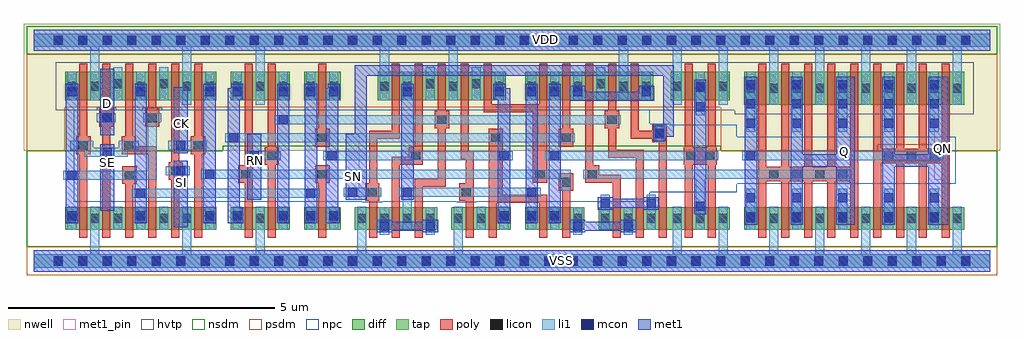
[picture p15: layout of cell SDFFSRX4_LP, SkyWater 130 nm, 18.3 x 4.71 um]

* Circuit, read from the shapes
.subckt SDFFSRX4_LP CK D Q QN RN SE SI SN VDD VSS
XM1 VSS SE n1 VSS sky130_fd_pr__nfet_01v8 w=0.42 l=0.15
XM2 n2 D VSS VSS sky130_fd_pr__nfet_01v8 w=0.42 l=0.15
XM3 n3 n1 n2 VSS sky130_fd_pr__nfet_01v8 w=0.42 l=0.15
XM4 n4 SE n3 VSS sky130_fd_pr__nfet_01v8 w=0.42 l=0.15
XM5 VSS SI n4 VSS sky130_fd_pr__nfet_01v8 w=0.42 l=0.15
XM6 n5 CK VSS VSS sky130_fd_pr__nfet_01v8 w=0.42 l=0.15
XM7 VSS n5 n6 VSS sky130_fd_pr__nfet_01v8 w=0.42 l=0.15
XM8 n7 RN VSS VSS sky130_fd_pr__nfet_01v8 w=0.42 l=0.15
XM9 n8 n5 n3 VSS sky130_fd_pr__nfet_01v8 w=0.42 l=0.15
XM10 n9 SN VSS VSS sky130_fd_pr__nfet_01v8 w=0.42 l=0.15
XM11 n10 n8 n9 VSS sky130_fd_pr__nfet_01v8 w=0.42 l=0.15
XM12 n9 n7 n10 VSS sky130_fd_pr__nfet_01v8 w=0.42 l=0.15
XM13 n11 n10 VSS VSS sky130_fd_pr__nfet_01v8 w=0.42 l=0.15
XM14 n8 n6 n11 VSS sky130_fd_pr__nfet_01v8 w=0.42 l=0.15
XM15 n12 n6 n10 VSS sky130_fd_pr__nfet_01v8 w=0.42 l=0.15
XM16 n13 n5 n12 VSS sky130_fd_pr__nfet_01v8 w=0.42 l=0.15
XM17 n13 n14 n15 VSS sky130_fd_pr__nfet_01v8 w=0.42 l=0.15
XM18 n15 n7 n13 VSS sky130_fd_pr__nfet_01v8 w=0.42 l=0.15
XM19 VSS SN n15 VSS sky130_fd_pr__nfet_01v8 w=0.42 l=0.15
XM20 n14 n12 VSS VSS sky130_fd_pr__nfet_01v8 w=0.42 l=0.15 m=2
XM21 VSS n14 n16 VSS sky130_fd_pr__nfet_01v8 w=0.42 l=0.15
XM22 Q n14 VSS VSS sky130_fd_pr__nfet_01v8 w=0.42 l=0.15 m=4
XM23 QN n16 VSS VSS sky130_fd_pr__nfet_01v8 w=0.42 l=0.15 m=4
XM24 VDD SE n1 VDD sky130_fd_pr__pfet_01v8_hvt w=0.54 l=0.15
XM25 n17 D VDD VDD sky130_fd_pr__pfet_01v8_hvt w=0.54 l=0.15
XM26 n3 SE n17 VDD sky130_fd_pr__pfet_01v8_hvt w=0.54 l=0.15
XM27 n18 n1 n3 VDD sky130_fd_pr__pfet_01v8_hvt w=0.54 l=0.15
XM28 VDD SI n18 VDD sky130_fd_pr__pfet_01v8_hvt w=0.54 l=0.15
XM29 n5 CK VDD VDD sky130_fd_pr__pfet_01v8_hvt w=0.54 l=0.15
XM30 VDD n5 n6 VDD sky130_fd_pr__pfet_01v8_hvt w=0.54 l=0.15
XM31 n7 RN VDD VDD sky130_fd_pr__pfet_01v8_hvt w=0.54 l=0.15
XM32 n8 n6 n3 VDD sky130_fd_pr__pfet_01v8_hvt w=0.54 l=0.15
XM33 n10 SN VDD VDD sky130_fd_pr__pfet_01v8_hvt w=0.54 l=0.15
XM34 n19 n8 n10 VDD sky130_fd_pr__pfet_01v8_hvt w=0.54 l=0.15
XM35 VDD n7 n19 VDD sky130_fd_pr__pfet_01v8_hvt w=0.54 l=0.15
XM36 n20 n10 VDD VDD sky130_fd_pr__pfet_01v8_hvt w=0.54 l=0.15
XM37 n8 n5 n20 VDD sky130_fd_pr__pfet_01v8_hvt w=0.54 l=0.15
XM38 n12 n5 n10 VDD sky130_fd_pr__pfet_01v8_hvt w=0.54 l=0.15
XM39 n21 n6 n12 VDD sky130_fd_pr__pfet_01v8_hvt w=0.54 l=0.15
XM40 n22 n14 n21 VDD sky130_fd_pr__pfet_01v8_hvt w=0.54 l=0.15
XM41 VDD n7 n22 VDD sky130_fd_pr__pfet_01v8_hvt w=0.54 l=0.15
XM42 n21 SN VDD VDD sky130_fd_pr__pfet_01v8_hvt w=0.54 l=0.15
XM43 n14 n12 VDD VDD sky130_fd_pr__pfet_01v8_hvt w=0.54 l=0.15 m=2
XM44 VDD n14 n16 VDD sky130_fd_pr__pfet_01v8_hvt w=0.62 l=0.15
XM45 Q n14 VDD VDD sky130_fd_pr__pfet_01v8_hvt w=0.62 l=0.15 m=4
XM46 QN n16 VDD VDD sky130_fd_pr__pfet_01v8_hvt w=0.62 l=0.15 m=4
.ends

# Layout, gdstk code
from math import pi, radians
import gdstk
lib = gdstk.Library(unit=1e-6, precision=1e-09)
def R(c, l, rs):  # rectangles x0, y0, x1, y1
    for r in rs: c.add(gdstk.rectangle(r[:2], r[2:], *l))
def A(c, l, x, y, w, h, nx, ny, dx, dy):  # array of equal rectangles
    R(c, l, [(x+i*dx, y+j*dy, x+i*dx+w, y+j*dy+h) for i in range(nx) for j in range(ny)])
def P(c, l, *ps):  # polygons
    for p in ps: c.add(gdstk.Polygon(p, *l))
nwell = (64, 20)
diff = (65, 20)
tap = (65, 44)
poly = (66, 20)
licon = (66, 44)
li1 = (67, 20)
mcon = (67, 44)
met1_pin = (68, 16)
met1 = (68, 20)
hvtp = (78, 44)
nsdm = (93, 44)
psdm = (94, 20)
npc = (95, 20)

pyl1con_c_cdns_758729379 = lib.new_cell('PYL1CON_C_CDNS_758729379653')
R(pyl1con_c_cdns_758729379, poly, [(-0.135,-0.165,0.135,0.165)])
R(pyl1con_c_cdns_758729379, licon, [(-0.085,-0.085,0.085,0.085)])
R(pyl1con_c_cdns_758729379, npc, [(-0.185,-0.185,0.185,0.185)])

l1m1_c_cdns_758729379651 = lib.new_cell('L1M1_C_CDNS_7587293796510')
R(l1m1_c_cdns_758729379651, li1, [(-0.085,-0.525,0.085,0.525)])
A(l1m1_c_cdns_758729379651, mcon, -0.085, -0.445, 0.17, 0.17, 1, 3, 0, 0.36)
R(l1m1_c_cdns_758729379651, met1, [(-0.115,-0.505,0.115,0.505)])

l1m1_c_cdns_758729379655 = lib.new_cell('L1M1_C_CDNS_758729379655')
R(l1m1_c_cdns_758729379655, li1, [(-0.085,-0.165,0.085,0.165)])
R(l1m1_c_cdns_758729379655, mcon, [(-0.085,-0.085,0.085,0.085)])
R(l1m1_c_cdns_758729379655, met1, [(-0.115,-0.145,0.115,0.145)])

l1m1_c_cdns_758729379659 = lib.new_cell('L1M1_C_CDNS_758729379659')
R(l1m1_c_cdns_758729379659, li1, [(-0.085,-0.345,0.085,0.345)])
R(l1m1_c_cdns_758729379659, mcon, [(-0.085,-0.265,0.085,-0.095), (-0.085,0.095,0.085,0.265)])
R(l1m1_c_cdns_758729379659, met1, [(-0.115,-0.325,0.115,0.325)])

l1m1_c_cdns_758729379654 = lib.new_cell('L1M1_C_CDNS_758729379654')
R(l1m1_c_cdns_758729379654, li1, [(-0.165,-0.085,0.165,0.085)])
R(l1m1_c_cdns_758729379654, mcon, [(-0.085,-0.085,0.085,0.085)])
R(l1m1_c_cdns_758729379654, met1, [(-0.115,-0.145,0.115,0.145)])

l1m1_c_cdns_758729379652 = lib.new_cell('L1M1_C_CDNS_758729379652')
R(l1m1_c_cdns_758729379652, li1, [(-0.085,-0.165,0.085,0.165)])
R(l1m1_c_cdns_758729379652, mcon, [(-0.085,-0.085,0.085,0.085)])
R(l1m1_c_cdns_758729379652, met1, [(-0.145,-0.115,0.145,0.115)])

polyconn_cdns_7587293796 = lib.new_cell('polyConn_CDNS_758729379650')
R(polyconn_cdns_7587293796, poly, [(-0.135,-0.165,0.135,0.165)])
R(polyconn_cdns_7587293796, licon, [(-0.085,-0.085,0.085,0.085)])
R(polyconn_cdns_7587293796, li1, [(-0.085,-0.165,0.085,0.165)])
R(polyconn_cdns_7587293796, mcon, [(-0.085,-0.085,0.085,0.085)])
R(polyconn_cdns_7587293796, met1, [(-0.115,-0.145,0.115,0.145)])
R(polyconn_cdns_7587293796, npc, [(-0.185,-0.185,0.185,0.185)])

licondiff_c_cdns_7587293 = lib.new_cell('LICONDIFF_C_CDNS_758729379657')
R(licondiff_c_cdns_7587293, diff, [(-0.125,-0.145,0.125,0.145)])
R(licondiff_c_cdns_7587293, licon, [(-0.085,-0.085,0.085,0.085), (-0.085,-0.085,0.085,0.085)])

sdffsrx4_lp = lib.new_cell('SDFFSRX4_LP')
R(sdffsrx4_lp, nwell, [(-0.18,2.07,18.12,4.445)])
R(sdffsrx4_lp, diff, [(0.595,0.59,3.425,1.01), (3.695,0.59,4.805,1.01), (5.075,0.59,5.755,1.01), (6.025,0.59,7.565,1.01), (7.835,0.59,8.945,1.01), (9.215,0.59,10.325,1.01), (10.595,0.59,13.055,1.01), (13.325,0.59,17.445,1.01), (13.325,2.93,17.445,3.55), (0.595,3.01,3.425,3.55), (3.695,3.01,4.805,3.55), (5.075,3.01,5.755,3.55), (6.455,3.01,8.855,3.55), (9.215,3.01,11.615,3.55), (11.945,3.01,13.055,3.55)])
A(sdffsrx4_lp, poly, 13.59, 0.44, 0.15, 3.26, 9, 1, 0.43, 0)
R(sdffsrx4_lp, poly, [(0.86,0.44,1.01,3.7), (1.29,0.44,1.44,3.7), (1.72,0.44,1.87,1.705), (2.58,0.44,2.73,3.7), (3.01,0.44,3.16,3.7), (3.96,0.44,4.11,3.7), (4.39,0.44,4.54,3.7), (5.34,0.44,5.49,1.795), (9.91,0.44,10.06,1.345), (9.91,2.145,10.06,3.7), (5.34,2.16,5.49,3.7), (2.15,2.55,2.3,3.7)])
P(sdffsrx4_lp, poly, [(2.3,2.155),(1.87,2.155),(1.87,3.7),(1.72,3.7),(1.72,2.005),(2.15,2.005),(2.15,0.44),(2.3,0.44)],
  [(6.87,3.7),(6.72,3.7),(6.72,2.44),(6.29,2.44),(6.29,0.44),(6.44,0.44),(6.44,2.29),(6.87,2.29)],
  [(7.3,3.7),(7.15,3.7),(7.15,1.955),(6.72,1.955),(6.72,0.44),(6.87,0.44),(6.87,1.805),(7.3,1.805)],
  [(7.73,3.7),(7.58,3.7),(7.58,1.545),(7.15,1.545),(7.15,0.44),(7.3,0.44),(7.3,1.395),(7.73,1.395)],
  [(8.25,2.055),(8.16,2.055),(8.16,3.7),(8.01,3.7),(8.01,1.905),(8.1,1.905),(8.1,0.44),(8.25,0.44)],
  [(9.63,3.7),(9.48,3.7),(9.48,2.935),(8.59,2.935),(8.59,3.7),(8.44,3.7),(8.44,2.785),(9.36,2.785),(9.36,1.465),(9.63,1.465)],
  [(9.63,1.24),(8.8,1.24),(8.8,2.475),(8.53,2.475),(8.53,0.44),(8.68,0.44),(8.68,1.09),(9.48,1.09),(9.48,0.44),(9.63,0.44)],
  [(11.01,1.615),(10.49,1.615),(10.49,3.7),(10.34,3.7),(10.34,1.465),(10.86,1.465),(10.86,0.44),(11.01,0.44)],
  [(11.44,2.085),(10.92,2.085),(10.92,3.7),(10.77,3.7),(10.77,1.935),(11.29,1.935),(11.29,0.44),(11.44,0.44)],
  [(11.87,2.445),(11.35,2.445),(11.35,3.7),(11.2,3.7),(11.2,2.295),(11.72,2.295),(11.72,0.44),(11.87,0.44)],
  [(12.81,2.135),(12.79,2.135),(12.79,3.7),(12.64,3.7),(12.64,2.135),(12.36,2.135),(12.36,3.7),(12.21,3.7),(12.21,2.135),(12.19,2.135),(12.19,1.805),(12.21,1.805),(12.21,0.44),(12.36,0.44),(12.36,1.805),(12.64,1.805),(12.64,0.44),(12.79,0.44),(12.79,1.805),(12.81,1.805)])
A(sdffsrx4_lp, licon, 0.375, -0.085, 0.17, 0.17, 38, 2, 0.46, 4.14)
A(sdffsrx4_lp, licon, 1.065, 0.715, 0.17, 0.17, 3, 2, 0.86, 2.48)
A(sdffsrx4_lp, licon, 3.735, 0.715, 0.17, 0.17, 3, 2, 0.43, 2.48)
A(sdffsrx4_lp, licon, 6.065, 0.715, 0.17, 0.17, 4, 1, 0.43, 0)
A(sdffsrx4_lp, licon, 9.255, 0.715, 0.17, 0.17, 3, 2, 0.43, 2.48)
A(sdffsrx4_lp, licon, 10.635, 0.715, 0.17, 0.17, 3, 1, 0.43, 0)
A(sdffsrx4_lp, licon, 11.985, 0.715, 0.17, 0.17, 3, 2, 0.43, 2.48)
A(sdffsrx4_lp, licon, 13.365, 0.715, 0.17, 0.17, 10, 2, 0.43, 2.44)
A(sdffsrx4_lp, licon, 6.925, 3.195, 0.17, 0.17, 3, 1, 0.86, 0)
R(sdffsrx4_lp, licon, [(0.635,0.715,0.805,0.885), (3.215,0.715,3.385,0.885), (5.115,0.715,5.285,0.885), (5.545,0.715,5.715,0.885), (7.875,0.715,8.045,0.885), (8.735,0.715,8.905,0.885), (0.635,3.195,0.805,3.365), (3.215,3.195,3.385,3.365), (5.115,3.195,5.285,3.365), (5.545,3.195,5.715,3.365), (6.495,3.195,6.665,3.365), (10.975,3.195,11.145,3.365), (11.405,3.195,11.575,3.365)])
A(sdffsrx4_lp, li1, 0.635, 0.59, 0.17, 0.42, 3, 1, 1.29, 0)
A(sdffsrx4_lp, li1, 9.255, 0.59, 0.17, 0.42, 3, 1, 0.43, 0)
A(sdffsrx4_lp, li1, 10.635, 0.59, 0.17, 0.42, 3, 1, 0.43, 0)
A(sdffsrx4_lp, li1, 13.365, 0.59, 0.17, 0.42, 5, 1, 0.86, 0)
A(sdffsrx4_lp, li1, 13.365, 2.93, 0.17, 0.62, 5, 1, 0.86, 0)
A(sdffsrx4_lp, li1, 0.635, 3.01, 0.17, 0.54, 3, 1, 1.29, 0)
A(sdffsrx4_lp, li1, 9.255, 3.01, 0.17, 0.54, 3, 1, 0.43, 0)
R(sdffsrx4_lp, li1, [(3.735,0.59,3.905,1.01), (4.595,0.59,4.765,1.01), (5.115,0.59,5.285,1.01), (5.545,0.59,5.715,1.01), (6.495,0.59,6.665,1.01), (7.355,0.59,7.525,1.01), (8.735,0.59,8.905,1.01), (2.525,2.085,3.25,2.255), (3.735,3.01,3.905,3.55), (4.595,3.01,4.765,3.55), (5.115,3.01,5.285,3.55), (5.545,3.01,5.715,3.55), (6.925,3.01,7.095,3.55), (8.645,3.01,8.815,3.55), (11.405,3.01,11.575,3.55), (12.415,3.01,12.585,3.55)])
P(sdffsrx4_lp, li1, [(1.97,2.255),(1.6,2.255),(1.6,2.125),(1.12,2.125),(1.12,2.255),(0.69,2.255),(0.69,2.085),(0.95,2.085),(0.95,1.955),(1.77,1.955),(1.77,2.085),(1.97,2.085)],
  [(2.39,2.77),(2.06,2.77),(2.06,2.6),(2.14,2.6),(2.14,1.695),(0.72,1.695),(0.72,1.525),(2.31,1.525),(2.31,2.6),(2.39,2.6)],
  [(9.505,1.375),(6.845,1.375),(6.845,1.205),(6.925,1.205),(6.925,0.59),(7.095,0.59),(7.095,1.205),(9.505,1.205)],
  [(15.335,1.715),(10.31,1.715),(10.31,1.545),(12.415,1.545),(12.415,0.59),(12.585,0.59),(12.585,1.545),(15.335,1.545)],
  [(17.94,4.265),(0,4.265),(0,4.015),(1.065,4.015),(1.065,3.01),(1.235,3.01),(1.235,4.015),(2.785,4.015),(2.785,2.925),(2.955,2.925),(2.955,4.015),(4.165,4.015),(4.165,2.925),(4.335,2.925),(4.335,4.015),(6.495,4.015),(6.495,3.01),(6.665,3.01),(6.665,4.015),(7.785,4.015),(7.785,3.01),(7.955,3.01),(7.955,4.015),(10.975,4.015),(10.975,3.01),(11.145,3.01),(11.145,4.015),(11.985,4.015),(11.985,2.925),(12.155,2.925),(12.155,4.015),(12.845,4.015),(12.845,2.925),(13.015,2.925),(13.015,4.015),(13.795,4.015),(13.795,2.925),(13.965,2.925),(13.965,4.015),(14.655,4.015),(14.655,2.925),(14.825,2.925),(14.825,4.015),(15.515,4.015),(15.515,2.925),(15.685,2.925),(15.685,4.015),(16.375,4.015),(16.375,2.925),(16.545,2.925),(16.545,4.015),(17.235,4.015),(17.235,2.925),(17.405,2.925),(17.405,4.015),(17.94,4.015)],
  [(17.94,0.125),(17.405,0.125),(17.405,1.015),(17.235,1.015),(17.235,0.125),(16.545,0.125),(16.545,1.015),(16.375,1.015),(16.375,0.125),(15.685,0.125),(15.685,1.015),(15.515,1.015),(15.515,0.125),(14.825,0.125),(14.825,1.015),(14.655,1.015),(14.655,0.125),(13.965,0.125),(13.965,1.015),(13.795,1.015),(13.795,0.125),(13.015,0.125),(13.015,1.015),(12.845,1.015),(12.845,0.125),(12.155,0.125),(12.155,1.015),(11.985,1.015),(11.985,0.125),(8.045,0.125),(8.045,1.015),(7.875,1.015),(7.875,0.125),(6.235,0.125),(6.235,1.015),(6.065,1.015),(6.065,0.125),(4.335,0.125),(4.335,1.015),(4.165,1.015),(4.165,0.125),(2.955,0.125),(2.955,1.015),(2.785,1.015),(2.785,0.125),(1.235,0.125),(1.235,1.015),(1.065,1.015),(1.065,0.125),(0,0.125),(0,-0.125),(17.94,-0.125)])
A(sdffsrx4_lp, mcon, 0.375, -0.085, 0.17, 0.17, 38, 2, 0.46, 4.14)
R(sdffsrx4_lp, met1_pin, [(2.63,0.635,2.89,1.875), (1.25,0.945,1.51,2.185), (4.01,1.145,4.27,2.385), (5.85,1.145,6.11,2.385), (15.05,1.46,15.31,2.7), (16.89,1.52,17.15,2.76), (2.63,2.02,2.89,3.26), (1.25,2.36,1.51,3.6)])
P(sdffsrx4_lp, met1, [(12.005,3.67),(6.02,3.67),(6.02,2.385),(5.85,2.385),(5.85,1.145),(6.25,1.145),(6.25,3.47),(11.805,3.47),(11.805,2.325),(12.005,2.325)],
  [(15.395,3.45),(15.05,3.45),(15.05,2),(14.425,2),(14.425,3.45),(14.195,3.45),(14.195,0.68),(14.425,0.68),(14.425,1.77),(15.05,1.77),(15.05,0.68),(15.395,0.68)],
  [(17.15,3.455),(16.775,3.455),(16.775,2),(16.145,2),(16.145,3.45),(15.915,3.45),(15.915,0.68),(16.145,0.68),(16.145,1.77),(16.775,1.77),(16.775,0.68),(17.15,0.68)])
P(sdffsrx4_lp, hvtp, [(17.625,3.73),(0.415,3.73),(0.415,2.83),(13.145,2.83),(13.145,2.75),(17.625,2.75)])
R(sdffsrx4_lp, nsdm, [(-0.125,3.875,18.065,4.405)])
P(sdffsrx4_lp, nsdm, [(18.065,2.07),(16.995,2.07),(16.995,1.875),(15.925,1.875),(15.925,2.07),(12.88,2.07),(12.88,2.165),(3.55,2.165),(3.55,2.07),(-0.125,2.07),(-0.125,0.265),(18.065,0.265)])
R(sdffsrx4_lp, psdm, [(-0.125,-0.265,18.065,0.265)])
P(sdffsrx4_lp, psdm, [(18.065,3.875),(-0.125,3.875),(-0.125,2.07),(0.585,2.07),(0.585,2.88),(12.88,2.88),(12.88,2.07),(15.83,2.07),(15.83,2.175),(17.09,2.175),(17.09,2.07),(18.065,2.07)])
P(sdffsrx4_lp, npc, [(17.29,2.325),(13.185,2.325),(13.185,2.55),(11.92,2.55),(11.92,2.575),(11.55,2.575),(11.55,2.835),(0.75,2.835),(0.75,1.11),(11.55,1.11),(11.55,1.285),(13.185,1.285),(13.185,1.445),(17.29,1.445)])
sdffsrx4_lp.add(gdstk.FlexPath([(1.38,2.685),(1.18,2.685)], 0.17, ends="flush", simple_path=True, layer=67, datatype=20))  # li1
sdffsrx4_lp.add(gdstk.FlexPath([(2.76,1.69),(2.48,1.69)], 0.17, ends="flush", simple_path=True, layer=67, datatype=20))  # li1
sdffsrx4_lp.add(gdstk.FlexPath([(1.58,3.01),(1.58,3.635)], 0.17, ends="flush", simple_path=True, layer=67, datatype=20))  # li1
sdffsrx4_lp.add(gdstk.FlexPath([(1.845,1.27),(5.365,1.27)], 0.17, ends="flush", simple_path=True, layer=67, datatype=20))  # li1
sdffsrx4_lp.add(gdstk.FlexPath([(7.44,3.01),(7.44,3.635)], 0.17, ends="flush", simple_path=True, layer=67, datatype=20))  # li1
sdffsrx4_lp.add(gdstk.FlexPath([(8.3,3.01),(8.3,3.635)], 0.17, ends="flush", simple_path=True, layer=67, datatype=20))  # li1
sdffsrx4_lp.add(gdstk.FlexPath([(9.585,1.97),(12.84,1.97)], 0.17, ends="flush", simple_path=True, layer=67, datatype=20))  # li1
sdffsrx4_lp.add(gdstk.FlexPath([(2.44,3.01),(2.44,3.635)], 0.17, ends="flush", simple_path=True, layer=67, datatype=20))  # li1
sdffsrx4_lp.add(gdstk.FlexPath([(4.68,2.65),(11.01,2.65)], 0.17, ends="flush", simple_path=True, layer=67, datatype=20))  # li1
sdffsrx4_lp.add(gdstk.FlexPath([(3.885,2.31),(10.15,2.31)], 0.17, ends="flush", simple_path=True, layer=67, datatype=20))  # li1
sdffsrx4_lp.add(gdstk.FlexPath([(5.63,1.97),(8.985,1.97)], 0.17, ends="flush", simple_path=True, layer=67, datatype=20))  # li1
sdffsrx4_lp.add(gdstk.FlexPath([(3.135,1.63),(9.985,1.63),(9.985,1.315)], 0.17, ends="flush", simple_path=True, layer=67, datatype=20))  # li1
sdffsrx4_lp.add(gdstk.FlexPath([(13.45,1.97),(17.055,1.97)], 0.17, ends="flush", simple_path=True, layer=67, datatype=20))  # li1
sdffsrx4_lp.add(gdstk.FlexPath([(10.63,3.01),(10.63,3.635)], 0.17, ends="flush", simple_path=True, layer=67, datatype=20))  # li1
sdffsrx4_lp.add(gdstk.FlexPath([(1.58,0.59),(1.58,1.015)], 0.17, ends="flush", simple_path=True, layer=67, datatype=20))  # li1
sdffsrx4_lp.add(gdstk.FlexPath([(2.44,0.59),(2.44,1.015)], 0.17, ends="flush", simple_path=True, layer=67, datatype=20))  # li1
sdffsrx4_lp.add(gdstk.FlexPath([(8.39,0.59),(8.39,1.015)], 0.17, ends="flush", simple_path=True, layer=67, datatype=20))  # li1
sdffsrx4_lp.add(gdstk.FlexPath([(4.63,1.97),(4.085,1.97)], 0.17, ends="flush", simple_path=True, layer=67, datatype=20))  # li1
sdffsrx4_lp.add(gdstk.FlexPath([(6.515,1.29),(5.97,1.29)], 0.17, ends="flush", simple_path=True, layer=67, datatype=20))  # li1
sdffsrx4_lp.add(gdstk.FlexPath([(0,4.14),(17.94,4.14)], 0.4, ends="flush", simple_path=True, layer=68, datatype=20))  # met1
sdffsrx4_lp.add(gdstk.FlexPath([(0,0),(17.94,0)], 0.4, ends="flush", simple_path=True, layer=68, datatype=20))  # met1
sdffsrx4_lp.add(gdstk.FlexPath([(4.14,1.145),(4.14,2.385)], 0.26, ends="flush", simple_path=True, layer=68, datatype=20))  # met1
sdffsrx4_lp.add(gdstk.FlexPath([(2.76,2.02),(2.76,3.26)], 0.26, ends="flush", simple_path=True, layer=68, datatype=20))  # met1
sdffsrx4_lp.add(gdstk.FlexPath([(1.38,2.36),(1.38,3.6)], 0.26, ends="flush", simple_path=True, layer=68, datatype=20))  # met1
sdffsrx4_lp.add(gdstk.FlexPath([(3.3,0.705),(3.3,3.235)], 0.23, ends="flush", simple_path=True, layer=68, datatype=20))  # met1
sdffsrx4_lp.add(gdstk.FlexPath([(2.01,0.705),(2.01,3.235)], 0.23, ends="flush", simple_path=True, layer=68, datatype=20))  # met1
sdffsrx4_lp.add(gdstk.FlexPath([(5.2,0.705),(5.2,3.235)], 0.23, ends="flush", simple_path=True, layer=68, datatype=20))  # met1
sdffsrx4_lp.add(gdstk.FlexPath([(13.45,0.68),(13.45,3.45)], 0.23, ends="flush", simple_path=True, layer=68, datatype=20))  # met1
sdffsrx4_lp.add(gdstk.FlexPath([(12.5,0.88),(12.5,3.315)], 0.23, ends="flush", simple_path=True, layer=68, datatype=20))  # met1
sdffsrx4_lp.add(gdstk.FlexPath([(9.77,0.705),(9.77,3.235)], 0.23, ends="flush", simple_path=True, layer=68, datatype=20))  # met1
sdffsrx4_lp.add(gdstk.FlexPath([(9.34,0.705),(9.34,3.235)], 0.23, ends="flush", simple_path=True, layer=68, datatype=20))  # met1
sdffsrx4_lp.add(gdstk.FlexPath([(3.755,0.705),(3.755,3.235)], 0.23, ends="flush", simple_path=True, layer=68, datatype=20))  # met1
sdffsrx4_lp.add(gdstk.FlexPath([(4.68,0.705),(4.68,3.235)], 0.23, ends="flush", simple_path=True, layer=68, datatype=20))  # met1
sdffsrx4_lp.add(gdstk.FlexPath([(5.595,0.705),(5.595,3.235)], 0.23, ends="flush", simple_path=True, layer=68, datatype=20))  # met1
sdffsrx4_lp.add(gdstk.FlexPath([(8.82,0.705),(8.82,3.235)], 0.23, ends="flush", simple_path=True, layer=68, datatype=20))  # met1
sdffsrx4_lp.add(gdstk.FlexPath([(0.72,0.705),(0.72,3.235)], 0.23, ends="flush", simple_path=True, layer=68, datatype=20))  # met1
sdffsrx4_lp.add(gdstk.FlexPath([(10.055,0.655),(11.295,0.655)], 0.17, ends="flush", simple_path=True, layer=68, datatype=20))  # met1
sdffsrx4_lp.add(gdstk.FlexPath([(10.055,3.09),(11.635,3.09)], 0.17, ends="flush", simple_path=True, layer=68, datatype=20))  # met1
sdffsrx4_lp.add(gdstk.FlexPath([(10.575,1.08),(11.725,1.08)], 0.17, ends="flush", simple_path=True, layer=68, datatype=20))  # met1
sdffsrx4_lp.add(gdstk.FlexPath([(7.01,1.145),(7.01,3.235)], 0.23, ends="flush", simple_path=True, layer=68, datatype=20))  # met1
sdffsrx4_lp.add(gdstk.FlexPath([(6.435,0.655),(7.585,0.655)], 0.17, ends="flush", simple_path=True, layer=68, datatype=20))  # met1
sdffsrx4_lp.add(gdstk.FlexPath([(2.76,0.635),(2.76,1.875)], 0.26, ends="flush", simple_path=True, layer=68, datatype=20))  # met1
sdffsrx4_lp.add(gdstk.FlexPath([(1.38,0.945),(1.38,2.185)], 0.26, ends="flush", simple_path=True, layer=68, datatype=20))  # met1
sdffsrx4_lp.add(gdstk.FlexPath([(0,4.14),(17.94,4.14)], 0.4, ends="flush", simple_path=True, layer=68, datatype=16))  # met1_pin
sdffsrx4_lp.add(gdstk.FlexPath([(0,0),(17.94,0)], 0.4, ends="flush", simple_path=True, layer=68, datatype=16))  # met1_pin
sdffsrx4_lp.add(gdstk.FlexPath([(0,4.14),(17.94,4.14)], 0.25, ends="flush", simple_path=True, layer=65, datatype=44))  # tap
sdffsrx4_lp.add(gdstk.FlexPath([(0,0),(17.94,0)], 0.25, ends="flush", simple_path=True, layer=65, datatype=44))  # tap
sdffsrx4_lp.add(gdstk.Reference(pyl1con_c_cdns_758729379, (16.03,1.97), rotation=3*pi/2, x_reflection=True))
sdffsrx4_lp.add(gdstk.Reference(pyl1con_c_cdns_758729379, (16.46,1.97), rotation=3*pi/2, x_reflection=True))
sdffsrx4_lp.add(gdstk.Reference(pyl1con_c_cdns_758729379, (15.17,1.63), rotation=3*pi/2, x_reflection=True))
sdffsrx4_lp.add(gdstk.Reference(pyl1con_c_cdns_758729379, (14.74,1.63), rotation=3*pi/2, x_reflection=True))
sdffsrx4_lp.add(gdstk.Reference(pyl1con_c_cdns_758729379, (14.31,1.63), rotation=3*pi/2, x_reflection=True))
sdffsrx4_lp.add(gdstk.Reference(pyl1con_c_cdns_758729379, (6.35,1.29), x_reflection=True))
sdffsrx4_lp.add(gdstk.Reference(pyl1con_c_cdns_758729379, (4.465,1.97), x_reflection=True))
sdffsrx4_lp.add(gdstk.Reference(pyl1con_c_cdns_758729379, (1.365,2.685), x_reflection=True))
sdffsrx4_lp.add(gdstk.Reference(pyl1con_c_cdns_758729379, (3.085,2.17), x_reflection=True))
sdffsrx4_lp.add(gdstk.Reference(pyl1con_c_cdns_758729379, (2.665,1.69), x_reflection=True))
sdffsrx4_lp.add(gdstk.Reference(pyl1con_c_cdns_758729379, (16.89,1.97), rotation=3*pi/2, x_reflection=True))
sdffsrx4_lp.add(gdstk.Reference(pyl1con_c_cdns_758729379, (0.935,2.17)))
sdffsrx4_lp.add(gdstk.Reference(pyl1con_c_cdns_758729379, (1.785,2.17)))
sdffsrx4_lp.add(gdstk.Reference(pyl1con_c_cdns_758729379, (10.845,2.65)))
sdffsrx4_lp.add(gdstk.Reference(pyl1con_c_cdns_758729379, (7.655,2.65)))
sdffsrx4_lp.add(gdstk.Reference(pyl1con_c_cdns_758729379, (7.165,1.97)))
sdffsrx4_lp.add(gdstk.Reference(pyl1con_c_cdns_758729379, (12.675,1.97), rotation=pi, x_reflection=True))
sdffsrx4_lp.add(gdstk.Reference(pyl1con_c_cdns_758729379, (12.325,1.97), rotation=pi, x_reflection=True))
sdffsrx4_lp.add(gdstk.Reference(pyl1con_c_cdns_758729379, (9.495,1.63), x_reflection=True))
sdffsrx4_lp.add(gdstk.Reference(pyl1con_c_cdns_758729379, (9.985,1.48)))
sdffsrx4_lp.add(gdstk.Reference(pyl1con_c_cdns_758729379, (3.975,1.63)))
sdffsrx4_lp.add(gdstk.Reference(pyl1con_c_cdns_758729379, (5.415,1.63)))
sdffsrx4_lp.add(gdstk.Reference(pyl1con_c_cdns_758729379, (9.985,2.31)))
sdffsrx4_lp.add(gdstk.Reference(pyl1con_c_cdns_758729379, (5.415,2.31)))
sdffsrx4_lp.add(gdstk.Reference(pyl1con_c_cdns_758729379, (8.665,2.31)))
sdffsrx4_lp.add(gdstk.Reference(pyl1con_c_cdns_758729379, (8.115,1.29)))
sdffsrx4_lp.add(gdstk.Reference(pyl1con_c_cdns_758729379, (10.475,1.63), rotation=pi, x_reflection=True))
sdffsrx4_lp.add(gdstk.Reference(pyl1con_c_cdns_758729379, (13.88,1.63), rotation=3*pi/2, x_reflection=True))
sdffsrx4_lp.add(gdstk.Reference(pyl1con_c_cdns_758729379, (2.225,2.685), x_reflection=True))
sdffsrx4_lp.add(gdstk.Reference(pyl1con_c_cdns_758729379, (1.795,1.61)))
sdffsrx4_lp.add(gdstk.Reference(l1m1_c_cdns_758729379651, (16.03,2.945)))
sdffsrx4_lp.add(gdstk.Reference(l1m1_c_cdns_758729379651, (16.89,2.945)))
sdffsrx4_lp.add(gdstk.Reference(l1m1_c_cdns_758729379651, (13.45,2.945)))
sdffsrx4_lp.add(gdstk.Reference(l1m1_c_cdns_758729379651, (15.17,2.945)))
sdffsrx4_lp.add(gdstk.Reference(l1m1_c_cdns_758729379651, (14.31,2.945)))
sdffsrx4_lp.add(gdstk.Reference(l1m1_c_cdns_758729379655, (0.72,3.175)))
sdffsrx4_lp.add(gdstk.Reference(l1m1_c_cdns_758729379655, (0.72,0.85)))
sdffsrx4_lp.add(gdstk.Reference(l1m1_c_cdns_758729379655, (8.82,0.85)))
sdffsrx4_lp.add(gdstk.Reference(l1m1_c_cdns_758729379655, (8.73,3.175)))
sdffsrx4_lp.add(gdstk.Reference(l1m1_c_cdns_758729379655, (5.63,3.175)))
sdffsrx4_lp.add(gdstk.Reference(l1m1_c_cdns_758729379655, (5.63,0.85)))
sdffsrx4_lp.add(gdstk.Reference(l1m1_c_cdns_758729379655, (4.68,3.175)))
sdffsrx4_lp.add(gdstk.Reference(l1m1_c_cdns_758729379655, (4.68,0.85)))
sdffsrx4_lp.add(gdstk.Reference(l1m1_c_cdns_758729379655, (2.01,0.85)))
sdffsrx4_lp.add(gdstk.Reference(l1m1_c_cdns_758729379655, (2.01,3.175)))
sdffsrx4_lp.add(gdstk.Reference(l1m1_c_cdns_758729379655, (5.2,0.85)))
sdffsrx4_lp.add(gdstk.Reference(l1m1_c_cdns_758729379655, (5.2,3.175)))
sdffsrx4_lp.add(gdstk.Reference(l1m1_c_cdns_758729379655, (9.77,3.175)))
sdffsrx4_lp.add(gdstk.Reference(l1m1_c_cdns_758729379655, (9.77,0.85)))
sdffsrx4_lp.add(gdstk.Reference(l1m1_c_cdns_758729379655, (3.3,0.85)))
sdffsrx4_lp.add(gdstk.Reference(l1m1_c_cdns_758729379655, (3.3,3.175)))
sdffsrx4_lp.add(gdstk.Reference(l1m1_c_cdns_758729379655, (3.82,0.85)))
sdffsrx4_lp.add(gdstk.Reference(l1m1_c_cdns_758729379655, (3.82,3.175)))
sdffsrx4_lp.add(gdstk.Reference(l1m1_c_cdns_758729379655, (9.34,0.85)))
sdffsrx4_lp.add(gdstk.Reference(l1m1_c_cdns_758729379655, (7.01,3.175)))
sdffsrx4_lp.add(gdstk.Reference(l1m1_c_cdns_758729379655, (12.5,1.025), rotation=pi, x_reflection=True))
sdffsrx4_lp.add(gdstk.Reference(l1m1_c_cdns_758729379655, (9.34,3.175)))
sdffsrx4_lp.add(gdstk.Reference(l1m1_c_cdns_758729379659, (12.5,3.075), rotation=pi, x_reflection=True))
sdffsrx4_lp.add(gdstk.Reference(l1m1_c_cdns_758729379659, (16.03,1.005)))
sdffsrx4_lp.add(gdstk.Reference(l1m1_c_cdns_758729379659, (16.89,1.005)))
sdffsrx4_lp.add(gdstk.Reference(l1m1_c_cdns_758729379659, (15.17,1.005)))
sdffsrx4_lp.add(gdstk.Reference(l1m1_c_cdns_758729379659, (14.31,1.005)))
sdffsrx4_lp.add(gdstk.Reference(l1m1_c_cdns_758729379659, (13.45,1.005)))
sdffsrx4_lp.add(gdstk.Reference(l1m1_c_cdns_758729379654, (5.98,1.29), x_reflection=True))
sdffsrx4_lp.add(gdstk.Reference(l1m1_c_cdns_758729379654, (4.14,1.97), x_reflection=True))
sdffsrx4_lp.add(gdstk.Reference(l1m1_c_cdns_758729379654, (1.38,2.04), x_reflection=True))
sdffsrx4_lp.add(gdstk.Reference(l1m1_c_cdns_758729379654, (1.38,2.685), x_reflection=True))
sdffsrx4_lp.add(gdstk.Reference(l1m1_c_cdns_758729379654, (2.76,2.17), x_reflection=True))
sdffsrx4_lp.add(gdstk.Reference(l1m1_c_cdns_758729379654, (13.45,1.97)))
sdffsrx4_lp.add(gdstk.Reference(l1m1_c_cdns_758729379654, (2.76,1.69), x_reflection=True))
sdffsrx4_lp.add(gdstk.Reference(l1m1_c_cdns_758729379654, (0.72,1.61)))
sdffsrx4_lp.add(gdstk.Reference(l1m1_c_cdns_758729379654, (4.68,2.65)))
sdffsrx4_lp.add(gdstk.Reference(l1m1_c_cdns_758729379654, (8.82,1.97)))
sdffsrx4_lp.add(gdstk.Reference(l1m1_c_cdns_758729379654, (5.595,1.97)))
sdffsrx4_lp.add(gdstk.Reference(l1m1_c_cdns_758729379654, (2.01,1.27)))
sdffsrx4_lp.add(gdstk.Reference(l1m1_c_cdns_758729379654, (5.2,1.27)))
sdffsrx4_lp.add(gdstk.Reference(l1m1_c_cdns_758729379654, (3.3,1.63)))
sdffsrx4_lp.add(gdstk.Reference(l1m1_c_cdns_758729379654, (3.755,2.31)))
sdffsrx4_lp.add(gdstk.Reference(l1m1_c_cdns_758729379654, (7.01,1.29)))
sdffsrx4_lp.add(gdstk.Reference(l1m1_c_cdns_758729379654, (9.34,1.29)))
sdffsrx4_lp.add(gdstk.Reference(l1m1_c_cdns_758729379654, (9.77,1.97)))
sdffsrx4_lp.add(gdstk.Reference(l1m1_c_cdns_758729379652, (6.58,0.655)))
sdffsrx4_lp.add(gdstk.Reference(l1m1_c_cdns_758729379652, (11.58,1.08)))
sdffsrx4_lp.add(gdstk.Reference(l1m1_c_cdns_758729379652, (10.72,1.08)))
sdffsrx4_lp.add(gdstk.Reference(l1m1_c_cdns_758729379652, (11.15,0.655)))
sdffsrx4_lp.add(gdstk.Reference(l1m1_c_cdns_758729379652, (10.2,0.655)))
sdffsrx4_lp.add(gdstk.Reference(l1m1_c_cdns_758729379652, (11.49,3.175)))
sdffsrx4_lp.add(gdstk.Reference(l1m1_c_cdns_758729379652, (10.2,3.175)))
sdffsrx4_lp.add(gdstk.Reference(l1m1_c_cdns_758729379652, (7.44,0.655)))
sdffsrx4_lp.add(gdstk.Reference(polyconn_cdns_7587293796, (11.735,2.39)))
sdffsrx4_lp.add(gdstk.Reference(licondiff_c_cdns_7587293, (8.39,0.8)))
sdffsrx4_lp.add(gdstk.Reference(licondiff_c_cdns_7587293, (2.44,0.8)))
sdffsrx4_lp.add(gdstk.Reference(licondiff_c_cdns_7587293, (1.58,0.8)))
sdffsrx4_lp.add(gdstk.Reference(licondiff_c_cdns_7587293, (10.63,3.32)))
sdffsrx4_lp.add(gdstk.Reference(licondiff_c_cdns_7587293, (8.3,3.32)))
sdffsrx4_lp.add(gdstk.Reference(licondiff_c_cdns_7587293, (7.44,3.32)))
sdffsrx4_lp.add(gdstk.Reference(licondiff_c_cdns_7587293, (2.44,3.32)))
sdffsrx4_lp.add(gdstk.Reference(licondiff_c_cdns_7587293, (1.58,3.32)))
sdffsrx4_lp.add(gdstk.Label('VDD', (9.59,4.145), layer=68, texttype=5))
sdffsrx4_lp.add(gdstk.Label('RN', (4.155,1.88), layer=68, texttype=5))
sdffsrx4_lp.add(gdstk.Label('CK', (2.775,2.575), layer=68, texttype=5))
sdffsrx4_lp.add(gdstk.Label('SE', (1.395,1.85), layer=68, texttype=5))
sdffsrx4_lp.add(gdstk.Label('D', (1.395,2.955), layer=68, texttype=5))
sdffsrx4_lp.add(gdstk.Label('SN', (5.995,1.585), layer=68, texttype=5))
sdffsrx4_lp.add(gdstk.Label('SI', (2.775,1.465), layer=68, texttype=5))
sdffsrx4_lp.add(gdstk.Label('Q', (15.195,2.055), layer=68, texttype=5))
sdffsrx4_lp.add(gdstk.Label('QN', (17.035,2.115), layer=68, texttype=5))
sdffsrx4_lp.add(gdstk.Label('VSS', (9.9,0.005), layer=68, texttype=5))

lib.write_gds('SDFFSRX4_LP.gds')
